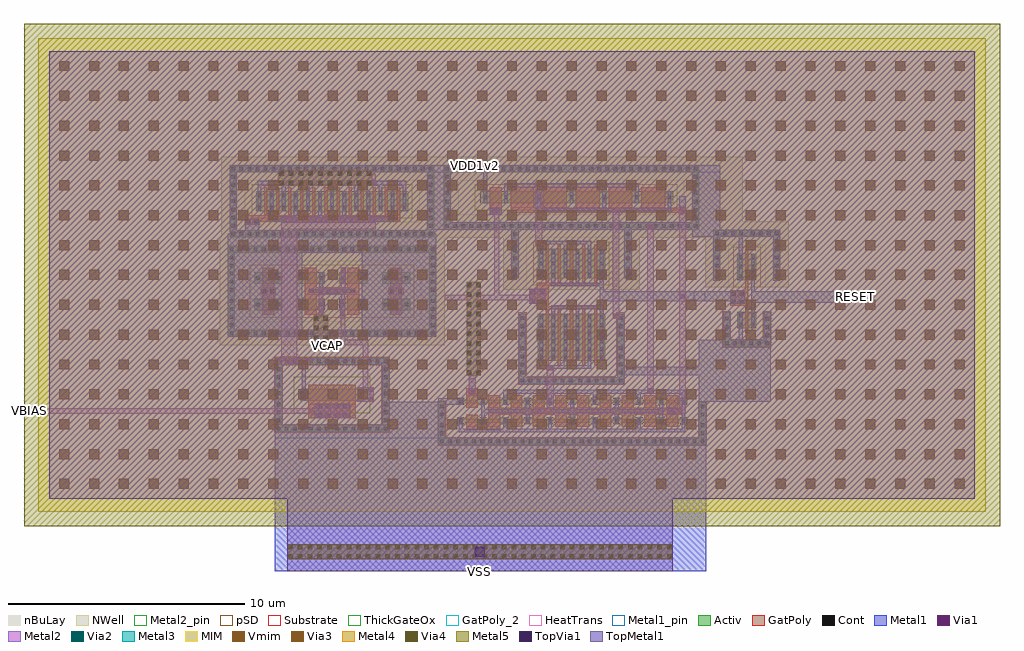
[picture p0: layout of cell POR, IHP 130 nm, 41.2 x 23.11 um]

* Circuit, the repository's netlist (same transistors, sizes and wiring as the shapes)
** sch_path: /foss/designs/xschemas/POR.sch
.subckt POR VDD RESET VBIAS VSS Nbulk
*.PININFO VSS:B VDD:B RESET:O VBIAS:I nbulk:B
XSCHMITT1 VSS VDD net2 net1 Nbulk Pbulk ring_schmitt
C1 VSS net1 cap_cmim w=40e-6 l=20e-6
M1 VSS VDD net1 Pbulk sg13_lv_pmos w=9.96u l=0.13u ng=12
XINV1 VDD Pbulk RESET net2 nbulk VSS ring_inv
M2 net1 net3 VDD Pbulk sg13_lv_pmos w=0.5u l=0.5u ng=1 m=2
M3 net3 net3 VDD Pbulk sg13_lv_pmos w=0.5u l=0.5u ng=1 m=2
M4 net3 VBIAS VSS nbulk sg13_hv_nmos w=0.5u l=2u ng=1
R1 VDD Pbulk ntap1 A=24.831e-12 P=166.14e-6
R2 VSS nbulk ptap1 A=12.969e-12 P=88.26e-6
M5 VDD VDD VDD Pbulk sg13_lv_pmos w=0.5u l=0.5u ng=1 m=4
.ends

* expanding   symbol:  /foss/designs/xschemas/ring_schmitt.sym # of pins=4
** sym_path: /foss/designs/xschemas/ring_schmitt.sym
** sch_path: /foss/designs/xschemas/ring_schmitt.sch
.subckt ring_schmitt VSS VDD Y A nbulk pbulk
*.PININFO A:I Y:O VDD:B VSS:B
M1 Y A VSPL nbulk sg13_lv_nmos w=10u l=0.13u ng=5
M2 Y A net1 pbulk sg13_lv_pmos w=6.25u l=0.13u ng=5
M3 VSPL A VSS nbulk sg13_lv_nmos w=0.155u l=0.5u ng=1
M4 net1 A VDD pbulk sg13_lv_pmos w=0.5u l=0.5u ng=1
M5 VSS Y net1 pbulk sg13_lv_pmos w=2.5u l=1u ng=1
M6 VDD Y VSPL nbulk sg13_lv_nmos w=2.945u l=0.5u ng=19
.ends


* expanding   symbol:  /foss/designs/xschemas/ring_inv.sym # of pins=6
** sym_path: /foss/designs/xschemas/ring_inv.sym
** sch_path: /foss/designs/xschemas/ring_inv.sch
.subckt ring_inv VDP Pbulk Y A Nbulk VSN
*.PININFO A:I Y:O Pbulk:B Nbulk:B VDP:B VSN:B
M1 Y A VSN Nbulk sg13_lv_nmos w=0.7u l=0.13u ng=1
M2 Y A VDP Pbulk sg13_lv_pmos w=1.12u l=0.13u ng=1
.ends

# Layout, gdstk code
from math import pi, radians
import gdstk
lib = gdstk.Library(unit=1e-6, precision=1e-09)
def R(c, l, rs):  # rectangles x0, y0, x1, y1
    for r in rs: c.add(gdstk.rectangle(r[:2], r[2:], *l))
def A(c, l, x, y, w, h, nx, ny, dx, dy):  # array of equal rectangles
    R(c, l, [(x+i*dx, y+j*dy, x+i*dx+w, y+j*dy+h) for i in range(nx) for j in range(ny)])
def P(c, l, *ps):  # polygons
    for p in ps: c.add(gdstk.Polygon(p, *l))
Activ = (1, 0)
GatPoly = (5, 0)
GatPoly_2 = (5, 2)
Cont = (6, 0)
Metal1 = (8, 0)
Metal1_pin = (8, 2)
Metal2 = (10, 0)
Metal2_pin = (10, 2)
pSD = (14, 0)
Via1 = (19, 0)
Via2 = (29, 0)
Metal3 = (30, 0)
NWell = (31, 0)
nBuLay = (32, 0)
MIM = (36, 0)
Substrate = (40, 0)
ThickGateOx = (44, 0)
Via3 = (49, 0)
Metal4 = (50, 0)
HeatTrans = (51, 0)
Via4 = (66, 0)
Metal5 = (67, 0)
TopVia1 = (125, 0)
TopMetal1 = (126, 0)
Vmim = (129, 0)

via_stack_5 = lib.new_cell('via_stack$5')
R(via_stack_5, GatPoly, [(-0.15,-0.15,0.15,0.15)])
R(via_stack_5, Cont, [(-0.08,-0.08,0.08,0.08)])
R(via_stack_5, Metal1, [(-0.145,-0.105,0.145,0.105)])
R(via_stack_5, Metal2, [(-0.145,-0.1,0.145,0.1)])
R(via_stack_5, Via1, [(-0.095,-0.095,0.095,0.095)])

via_stack = lib.new_cell('via_stack')
R(via_stack, GatPoly, [(-0.32,-0.32,0.32,0.32)])
R(via_stack, Cont, [(-0.25,-0.25,-0.09,-0.09), (0.09,-0.25,0.25,-0.09), (-0.25,0.09,-0.09,0.25), (0.09,0.09,0.25,0.25)])
R(via_stack, Metal1, [(-0.35,-0.31,0.35,0.31)])
R(via_stack, Metal2, [(-0.35,-0.305,0.35,0.305)])
R(via_stack, Via1, [(-0.3,-0.3,-0.11,-0.11), (0.11,-0.3,0.3,-0.11), (-0.3,0.11,-0.11,0.3), (0.11,0.11,0.3,0.3)])

via_stack_4 = lib.new_cell('via_stack$4')
R(via_stack_4, Metal1, [(-0.145,-0.105,0.145,0.105)])
R(via_stack_4, Metal2, [(-0.145,-0.1,0.145,0.1)])
R(via_stack_4, Via1, [(-0.095,-0.095,0.095,0.095)])

nmos_3 = lib.new_cell('nmos$3')
A(nmos_3, Activ, 0, 0, 0.3, 0.3, 11, 1, 0.94, 0)
R(nmos_3, Activ, [(0,0.07,9.7,0.225)])
A(nmos_3, GatPoly, 0.37, -0.11, 0.5, 0.515, 10, 1, 0.94, 0)
R(nmos_3, GatPoly_2, [(0.37,-0.11,0.87,0.405)])
A(nmos_3, Metal1, 0.07, 0.015, 0.16, 0.26, 11, 1, 0.94, 0)
R(nmos_3, Metal1_pin, [(0.07,0.015,0.23,0.275), (1.01,0.015,1.17,0.275)])
A(nmos_3, HeatTrans, 0.37, -0.11, 0.5, 0.515, 10, 1, 0.94, 0)
nmos_3.add(gdstk.Label('nmos', (0.62,0.148), layer=63, texttype=0))
nmos_3.add(gdstk.Label('nmos', (0.62,0.148), layer=51, texttype=0))
nmos_3.add(gdstk.Label('nmos', (1.56,0.148), layer=51, texttype=0))
nmos_3.add(gdstk.Label('nmos', (2.5,0.148), layer=51, texttype=0))
nmos_3.add(gdstk.Label('nmos', (3.44,0.148), layer=51, texttype=0))
nmos_3.add(gdstk.Label('nmos', (4.38,0.148), layer=51, texttype=0))
nmos_3.add(gdstk.Label('nmos', (5.32,0.148), layer=51, texttype=0))
nmos_3.add(gdstk.Label('nmos', (6.26,0.148), layer=51, texttype=0))
nmos_3.add(gdstk.Label('nmos', (7.2,0.148), layer=51, texttype=0))
nmos_3.add(gdstk.Label('nmos', (8.14,0.148), layer=51, texttype=0))
nmos_3.add(gdstk.Label('nmos', (9.08,0.148), layer=51, texttype=0))

ring_schmitt = lib.new_cell('ring_schmitt')
A(ring_schmitt, Activ, -3.855, -3.525, 0.3, 0.3, 11, 1, 0.94, 0)
A(ring_schmitt, Activ, -0.46, -0.85, 0.3, 0.3, 6, 2, 0.51, 3.485)
A(ring_schmitt, Activ, -1.945, 5.805, 0.3, 0.3, 6, 1, 1.38, 0)
R(ring_schmitt, Activ, [(-4.655,-4.395,6.645,-4.095), (-4.655,-4.095,-4.355,-2.58), (6.345,-4.095,6.645,-2.58), (-3.855,-3.455,5.845,-3.3), (-1.26,-1.83,3.19,-1.53), (-1.26,-1.53,-0.96,1.15), (2.89,-1.53,3.19,1.15), (-0.46,-0.85,2.39,1.15), (-1.57,2.635,-1.27,4.695), (-0.46,2.635,2.39,3.885), (3.2,2.635,3.5,4.695), (-1.57,4.695,3.5,4.995), (-4.435,4.995,-4.135,7.115), (6.065,4.995,6.365,7.115), (-2.885,5.805,5.255,6.305), (-2.83,5.805,-2.53,6.105), (-4.435,7.115,6.365,7.415)])
P(ring_schmitt, Activ, [(-4.435,4.695),(-4.435,7.115),(-4.135,7.115),(-4.135,4.995),(6.065,4.995),(6.065,7.115),(-4.435,7.115),(-4.435,7.415),(6.365,7.415),(6.365,4.695)])
A(ring_schmitt, GatPoly, -3.485, -3.635, 0.5, 0.515, 10, 1, 0.94, 0)
A(ring_schmitt, GatPoly, -0.12, -1.03, 0.13, 2.36, 5, 1, 0.51, 0)
A(ring_schmitt, GatPoly, -0.12, 2.455, 0.13, 1.61, 5, 1, 0.51, 0)
A(ring_schmitt, GatPoly, -1.605, 5.625, 1, 0.86, 5, 1, 1.38, 0)
R(ring_schmitt, GatPoly, [(-3.485,-3.785,-2.045,-3.635), (-2.545,-3.12,5.615,-2.82), (-3.485,-2.305,-2.985,-2.005), (-0.505,1.33,2.05,1.46), (-0.505,1.33,0.01,2.455), (-0.505,2.325,2.05,2.455), (1.92,2.455,2.05,4.065), (-2.485,5.325,-1.985,5.625), (-1.605,5.4,5.8,5.625), (-2.485,5.625,-1.985,6.485), (-2.485,5.625,-1.985,6.485)])
R(ring_schmitt, GatPoly_2, [(-3.485,-3.635,-2.985,-3.12), (1.92,-1.03,2.05,1.33)])
A(ring_schmitt, Cont, -4.585, -4.325, 0.16, 0.16, 16, 1, 0.34, 0)
A(ring_schmitt, Cont, 0.975, -4.325, 0.16, 0.16, 17, 1, 0.34, 0)
A(ring_schmitt, Cont, -3.785, -3.455, 0.16, 0.16, 11, 2, 0.94, 0.815)
A(ring_schmitt, Cont, -1.19, -1.76, 0.16, 0.16, 7, 1, 0.34, 0)
A(ring_schmitt, Cont, 1.26, -1.76, 0.16, 0.16, 6, 1, 0.34, 0)
A(ring_schmitt, Cont, -1.19, -1.42, 0.16, 0.16, 1, 4, 0, 0.34)
A(ring_schmitt, Cont, 2.96, -1.42, 0.16, 0.16, 1, 4, 0, 0.34)
A(ring_schmitt, Cont, -0.39, -0.78, 0.16, 0.16, 6, 6, 0.51, 0.34)
A(ring_schmitt, Cont, -1.19, 0.2, 0.16, 0.16, 1, 3, 0, 0.34)
A(ring_schmitt, Cont, 2.96, 0.2, 0.16, 0.16, 1, 3, 0, 0.34)
A(ring_schmitt, Cont, -0.39, 2.705, 0.16, 0.16, 6, 3, 0.51, 0.475)
A(ring_schmitt, Cont, -1.5, 3.405, 0.16, 0.16, 1, 4, 0, 0.34)
A(ring_schmitt, Cont, 3.27, 3.405, 0.16, 0.16, 1, 4, 0, 0.34)
A(ring_schmitt, Cont, -4.365, 4.765, 0.16, 0.16, 15, 2, 0.34, 2.42)
A(ring_schmitt, Cont, 1.23, 4.765, 0.16, 0.16, 7, 1, 0.34, 0)
A(ring_schmitt, Cont, 3.755, 4.765, 0.16, 0.16, 8, 1, 0.34, 0)
A(ring_schmitt, Cont, -4.365, 5.105, 0.16, 0.16, 1, 3, 0, 0.34)
A(ring_schmitt, Cont, 6.135, 5.105, 0.16, 0.16, 1, 3, 0, 0.34)
A(ring_schmitt, Cont, -1.875, 5.975, 0.16, 0.16, 6, 1, 1.38, 0)
A(ring_schmitt, Cont, -4.365, 6.165, 0.16, 0.16, 1, 3, 0, 0.34)
A(ring_schmitt, Cont, 6.135, 6.165, 0.16, 0.16, 1, 3, 0, 0.34)
A(ring_schmitt, Cont, 1.035, 7.185, 0.16, 0.16, 16, 1, 0.34, 0)
R(ring_schmitt, Cont, [(-4.585,-3.985,-4.425,-3.825), (6.415,-3.985,6.575,-3.825), (-4.585,-3.645,-4.425,-3.485), (6.415,-3.645,6.575,-3.485), (-4.585,-3.19,-4.425,-3.03), (6.415,-3.19,6.575,-3.03), (-4.585,-2.85,-4.425,-2.69), (6.415,-2.85,6.575,-2.69), (-1.5,2.955,-1.34,3.115), (3.27,2.955,3.43,3.115), (0.88,4.765,1.04,4.925), (-2.76,5.975,-2.6,6.135)])
A(ring_schmitt, Metal1, -3.785, -3.795, 0.16, 0.285, 6, 1, 1.88, 0)
A(ring_schmitt, Metal1, -2.845, -3.515, 0.16, 1.105, 5, 1, 1.88, 0)
A(ring_schmitt, Metal1, -3.785, -3.51, 0.16, 0.27, 5, 1, 1.88, 0)
A(ring_schmitt, Metal1, -2.845, -3.51, 0.16, 0.26, 5, 1, 1.88, 0)
A(ring_schmitt, Metal1, -0.025, -2.71, 0.16, 0.555, 3, 1, 1.88, 0)
A(ring_schmitt, Metal1, -0.39, -0.85, 0.16, 2, 6, 1, 0.51, 0)
A(ring_schmitt, Metal1, -0.39, 2.635, 0.16, 1.25, 5, 1, 0.51, 0)
A(ring_schmitt, Metal1, -0.495, 5.465, 0.16, 0.34, 3, 1, 2.76, 0)
A(ring_schmitt, Metal1, -1.875, 5.805, 0.16, 0.5, 6, 1, 1.38, 0)
A(ring_schmitt, Metal1, -1.875, 6.305, 0.16, 0.34, 3, 1, 2.76, 0)
R(ring_schmitt, Metal1, [(-4.655,-4.395,6.645,-4.095), (-4.655,-4.095,-4.355,-2.58), (6.345,-4.095,6.645,-2.58), (-3.785,-3.87,5.775,-3.71), (-1.905,-3.87,-1.745,-3.51), (5.615,-3.51,5.775,-3.25), (5.615,-3.29,5.775,-2.41), (5.015,-3.11,5.43,-2.82), (-2.845,-3.05,4.835,-2.89), (-4.655,-2.71,-3.59,-2.42), (-1.905,-2.71,-1.745,-2.08), (6.345,-2.58,6.645,-1.1), (5.615,-2.44,5.775,-2.155), (-3.375,-2.255,-3.085,-1.59), (-1.905,-2.23,5.775,-2.07), (-1.26,-1.83,3.19,-1.53), (-1.26,-1.53,-0.96,1.15), (2.89,-1.53,3.19,1.15), (2.89,-1.445,6.645,-1.1), (-0.39,-1.19,1.81,-1.03), (-0.39,-1.19,-0.23,-0.85), (1.65,-1.19,1.81,-0.85), (0.63,-1.03,0.79,-0.85), (0.12,1.15,0.28,1.49), (1.14,1.15,1.3,1.33), (2.16,1.15,2.32,1.49), (0.12,1.33,2.32,1.49), (2.16,1.49,2.32,2.295), (2.16,1.665,6.605,2.095), (0.12,2.295,2.32,2.455), (0.12,2.295,0.28,2.635), (2.16,2.295,2.32,2.635), (1.14,2.455,1.3,2.635), (-1.57,2.635,-1.27,4.695), (1.65,2.635,1.81,3.885), (2.16,2.635,2.32,3.885), (2.16,2.635,2.32,3.885), (3.2,2.635,3.5,4.695), (-0.39,3.885,-0.23,4.225), (0.63,3.885,0.79,4.065), (1.65,3.885,1.81,4.225), (-0.39,4.065,1.81,4.225), (-4.435,4.695,6.365,4.995), (-1.57,4.695,3.5,4.995), (-4.435,4.995,-4.135,7.115), (6.065,4.995,6.365,7.115), (-2.485,5.325,-1.985,5.625), (5.505,5.415,5.795,6.11), (-0.495,5.465,5.185,5.625), (-2.76,5.805,-2.6,6.305), (-2.76,5.805,-2.6,6.305), (-1.875,5.805,-1.715,6.305), (-2.76,6.305,-2.6,7.115), (-1.875,6.485,3.805,6.645), (-4.435,7.115,6.365,7.415)])
R(ring_schmitt, Metal1_pin, [(-0.31,-4.395,0.48,-4.095), (-3.785,-3.51,-3.625,-3.24), (-2.845,-3.51,-2.685,-3.25), (1.65,-0.85,1.81,1.15), (2.16,-0.85,2.32,1.15), (6.12,1.665,6.605,2.095), (-0.16,7.115,1.845,7.415)])
R(ring_schmitt, Metal2, [(5.505,-3.11,5.795,2.075), (5.075,-3.07,5.795,-2.865), (-0.555,-3.065,0.215,-2.865), (-0.075,-3.065,0.215,-1.045), (-3.375,-2.255,-3.085,1.94), (4.155,-2.215,4.445,4.91), (2.7,0.935,2.99,5.615), (5.505,1.665,5.795,5.615), (-4.38,1.72,-0.59,1.94), (-2.295,1.72,-2.09,5.575), (-0.565,4.025,-0.275,6.7)])
R(ring_schmitt, Metal2_pin, [(-4.38,1.72,-4.105,1.94)])
R(ring_schmitt, pSD, [(-4.685,-4.425,6.675,-4.065), (-4.685,-4.065,-4.325,-2.535), (6.315,-4.065,6.675,-2.545), (-0.64,2.335,2.57,4.185), (-3.115,5.505,5.435,6.605)])
P(ring_schmitt, pSD, [(-1.29,-1.86),(-1.29,1.205),(-0.93,1.205),(-0.93,-1.5),(2.86,-1.5),(2.86,1.205),(3.22,1.205),(3.22,-1.86)])
R(ring_schmitt, NWell, [(-1.92,2.16,3.85,5.345), (-0.77,2.325,2.7,4.195), (-4.785,4.345,6.715,7.765), (-3.635,5.495,5.565,6.615)])
R(ring_schmitt, nBuLay, [(-1.92,2.16,-0.92,4.345), (2.85,2.16,3.85,4.345), (-1.92,4.345,3.85,5.345), (-4.785,5.345,-3.785,6.765), (5.715,5.345,6.715,6.765), (-4.785,6.765,6.715,7.765)])
P(ring_schmitt, nBuLay, [(-4.785,4.345),(-4.785,6.765),(-3.785,6.765),(-3.785,5.345),(5.715,5.345),(5.715,6.765),(-4.785,6.765),(-4.785,7.765),(6.715,7.765),(6.715,4.345)])
R(ring_schmitt, Substrate, [(-4.685,-4.425,6.675,-4.065), (-4.685,-4.065,-4.325,-2.535), (6.315,-4.065,6.675,-2.545), (-0.46,2.635,-0.16,2.935), (4.955,5.805,5.255,6.105)])
P(ring_schmitt, Substrate, [(-1.29,-1.86),(-1.29,1.205),(-0.93,1.205),(-0.93,-1.5),(2.86,-1.5),(2.86,1.205),(3.22,1.205),(3.22,-1.86)])
A(ring_schmitt, HeatTrans, -3.485, -3.635, 0.5, 0.515, 10, 1, 0.94, 0)
A(ring_schmitt, HeatTrans, -0.12, -1.03, 0.13, 2.36, 5, 1, 0.51, 0)
A(ring_schmitt, HeatTrans, -0.12, 2.455, 0.13, 1.61, 5, 1, 0.51, 0)
A(ring_schmitt, HeatTrans, -1.605, 5.625, 1, 0.86, 5, 1, 1.38, 0)
R(ring_schmitt, HeatTrans, [(-2.485,5.625,-1.985,6.485)])
ring_schmitt.add(gdstk.Reference(via_stack_5, (-2.235,5.475), rotation=pi, x_reflection=True))
ring_schmitt.add(gdstk.Reference(via_stack, (-0.465,1.88), rotation=pi, x_reflection=True))
ring_schmitt.add(gdstk.Reference(via_stack_4, (-0.42,6.6)))
ring_schmitt.add(gdstk.Reference(via_stack_4, (-0.42,4.125)))
ring_schmitt.add(gdstk.Reference(via_stack_5, (5.65,5.515)))
ring_schmitt.add(gdstk.Reference(via_stack_4, (5.65,1.865)))
ring_schmitt.add(gdstk.Reference(nmos_3, (-3.855,-2.71)))
ring_schmitt.add(gdstk.Reference(via_stack_4, (-0.41,-2.965)))
ring_schmitt.add(gdstk.Reference(via_stack_4, (0.07,-1.145)))
ring_schmitt.add(gdstk.Reference(via_stack_5, (5.22,-2.965)))
ring_schmitt.add(gdstk.Reference(via_stack_5, (-3.23,-2.155), rotation=pi, x_reflection=True))
ring_schmitt.add(gdstk.Reference(via_stack_4, (2.845,1.035)))
ring_schmitt.add(gdstk.Reference(via_stack_4, (2.845,5.515)))
ring_schmitt.add(gdstk.Reference(via_stack_4, (4.3,-2.115)))
ring_schmitt.add(gdstk.Reference(via_stack_4, (4.3,4.81)))
ring_schmitt.add(gdstk.Label('Y', (6.605,1.88), layer=8, texttype=2))
ring_schmitt.add(gdstk.Label('VDD', (0.74,7.415), layer=8, texttype=2))
ring_schmitt.add(gdstk.Label('VSS', (0.035,-4.395), layer=8, texttype=2))
ring_schmitt.add(gdstk.Label('pmos', (1.985,3.26), layer=63, texttype=0))
ring_schmitt.add(gdstk.Label('sub!', (0.965,-1.68), layer=63, texttype=0))
ring_schmitt.add(gdstk.Label('nmos', (1.985,0.15), layer=63, texttype=0))
ring_schmitt.add(gdstk.Label('sub!', (0.995,-4.245), layer=63, texttype=0))
ring_schmitt.add(gdstk.Label('nmos', (-3.235,-3.38), layer=63, texttype=0))
ring_schmitt.add(gdstk.Label('pmos', (1.985,3.26), layer=51, texttype=0))
ring_schmitt.add(gdstk.Label('pmos', (1.475,3.26), layer=51, texttype=0))
ring_schmitt.add(gdstk.Label('pmos', (0.965,3.26), layer=51, texttype=0))
ring_schmitt.add(gdstk.Label('pmos', (0.455,3.26), layer=51, texttype=0))
ring_schmitt.add(gdstk.Label('pmos', (-0.055,3.26), layer=51, texttype=0))
ring_schmitt.add(gdstk.Label('nmos', (-0.055,0.15), layer=51, texttype=0))
ring_schmitt.add(gdstk.Label('nmos', (0.455,0.15), layer=51, texttype=0))
ring_schmitt.add(gdstk.Label('nmos', (0.965,0.15), layer=51, texttype=0))
ring_schmitt.add(gdstk.Label('nmos', (1.475,0.15), layer=51, texttype=0))
ring_schmitt.add(gdstk.Label('nmos', (1.985,0.15), layer=51, texttype=0))
ring_schmitt.add(gdstk.Label('pmos', (-2.485,6.055), layer=51, texttype=0))
ring_schmitt.add(gdstk.Label('pmos', (-1.105,6.055), layer=51, texttype=0))
ring_schmitt.add(gdstk.Label('pmos', (0.275,6.055), layer=51, texttype=0))
ring_schmitt.add(gdstk.Label('pmos', (1.655,6.055), layer=51, texttype=0))
ring_schmitt.add(gdstk.Label('pmos', (3.035,6.055), layer=51, texttype=0))
ring_schmitt.add(gdstk.Label('pmos', (4.415,6.055), layer=51, texttype=0))
ring_schmitt.add(gdstk.Label('nmos', (5.225,-3.375), layer=51, texttype=0))
ring_schmitt.add(gdstk.Label('nmos', (4.285,-3.375), layer=51, texttype=0))
ring_schmitt.add(gdstk.Label('nmos', (3.345,-3.375), layer=51, texttype=0))
ring_schmitt.add(gdstk.Label('nmos', (2.405,-3.375), layer=51, texttype=0))
ring_schmitt.add(gdstk.Label('nmos', (1.465,-3.375), layer=51, texttype=0))
ring_schmitt.add(gdstk.Label('nmos', (0.525,-3.375), layer=51, texttype=0))
ring_schmitt.add(gdstk.Label('nmos', (-0.415,-3.375), layer=51, texttype=0))
ring_schmitt.add(gdstk.Label('nmos', (-1.355,-3.375), layer=51, texttype=0))
ring_schmitt.add(gdstk.Label('nmos', (-2.295,-3.375), layer=51, texttype=0))
ring_schmitt.add(gdstk.Label('nmos', (-3.235,-3.375), layer=51, texttype=0))
ring_schmitt.add(gdstk.Label('A', (-4.38,1.83), layer=10, texttype=2))

via_stack_1 = lib.new_cell('via_stack$1')
R(via_stack_1, GatPoly, [(-0.32,-0.32,0.32,0.32)])
R(via_stack_1, Cont, [(-0.25,-0.25,-0.09,-0.09), (0.09,-0.25,0.25,-0.09), (-0.25,0.09,-0.09,0.25), (0.09,0.09,0.25,0.25)])
R(via_stack_1, Metal1, [(-0.3,-0.25,0.3,0.25)])

ring_inv = lib.new_cell('ring_inv')
R(ring_inv, Activ, [(-0.45,-2.005,-0.15,-1.705), (-0.45,-2.005,0.36,-1.305), (0.06,-2.005,0.36,-1.705), (-1.46,0,-1.16,1.86), (1.07,0,1.37,1.86), (-0.45,0.03,-0.15,0.33), (-0.45,0.03,0.36,1.15), (0.06,0.03,0.36,0.33), (-1.46,1.86,1.37,2.16)])
P(ring_inv, Activ, [(-1.05,-2.785),(-1.05,-1.305),(-0.75,-1.305),(-0.75,-2.485),(0.66,-2.485),(0.66,-1.305),(0.96,-1.305),(0.96,-2.785)])
R(ring_inv, GatPoly, [(-0.11,-2.185,0.02,-1.125), (-0.11,-1.125,0.02,-0.15), (-0.11,-0.15,0.02,1.33), (-0.11,-0.15,0.02,1.33)])
R(ring_inv, GatPoly_2, [(-0.11,-2.185,0.02,-1.125)])
A(ring_inv, Cont, -0.98, -2.715, 0.16, 0.16, 3, 1, 0.34, 0)
A(ring_inv, Cont, 0.05, -2.715, 0.16, 0.16, 3, 1, 0.34, 0)
A(ring_inv, Cont, -0.38, 0.1, 0.16, 0.16, 1, 3, 0, 0.41)
A(ring_inv, Cont, 0.13, 0.1, 0.16, 0.16, 1, 3, 0, 0.41)
A(ring_inv, Cont, -1.39, 0.57, 0.16, 0.16, 1, 4, 0, 0.34)
A(ring_inv, Cont, 1.14, 0.57, 0.16, 0.16, 1, 4, 0, 0.34)
A(ring_inv, Cont, -1.39, 1.93, 0.16, 0.16, 4, 1, 0.34, 0)
A(ring_inv, Cont, 0.12, 1.93, 0.16, 0.16, 4, 1, 0.34, 0)
R(ring_inv, Cont, [(-0.98,-2.375,-0.82,-2.215), (0.73,-2.375,0.89,-2.215), (-0.98,-2.035,-0.82,-1.875), (0.73,-2.035,0.89,-1.875), (-0.38,-1.935,-0.22,-1.775), (0.13,-1.935,0.29,-1.775), (0.73,-1.675,0.89,-1.515), (-0.98,-1.67,-0.82,-1.51), (-0.38,-1.535,-0.22,-1.375), (0.13,-1.535,0.29,-1.375), (-1.39,0.11,-1.23,0.27), (1.14,0.11,1.3,0.27)])
R(ring_inv, Metal1, [(-1.05,-2.785,0.96,-2.485), (-1.05,-2.485,-0.75,-1.305), (0.66,-2.485,0.96,-1.305), (-0.38,-2.005,-0.22,-1.305), (0.13,-2.005,0.29,-1.305), (0.13,-1.305,0.29,0.03), (-1.46,0,-1.16,1.86), (1.07,0,1.37,1.86), (-0.38,0.03,-0.22,1.15), (-0.38,0.03,-0.22,1.15), (0.13,0.03,0.29,1.15), (0.13,0.03,0.29,1.15), (-1.46,1.86,1.37,2.16)])
R(ring_inv, Metal1_pin, [(-0.38,-2.785,0.23,-2.485), (-0.38,-2.005,-0.22,-1.305), (0.13,-2.005,0.29,-1.305), (0.13,-0.84,0.29,-0.565), (-0.73,-0.815,-0.52,-0.625), (-0.505,1.86,0.29,2.16)])
R(ring_inv, pSD, [(-0.63,-0.27,0.54,1.45)])
P(ring_inv, pSD, [(-1.08,-2.815),(-1.08,-1.275),(-0.72,-1.275),(-0.72,-2.455),(0.63,-2.455),(0.63,-1.275),(0.99,-1.275),(0.99,-2.815)])
R(ring_inv, NWell, [(-1.81,-0.28,1.72,2.51), (-0.76,-0.28,0.67,1.46)])
R(ring_inv, nBuLay, [(-1.81,-0.28,-0.81,1.51), (0.72,-0.28,1.72,1.51), (-1.81,1.51,1.72,2.51)])
R(ring_inv, Substrate, [(-1.08,-2.815,0.99,-2.455), (-1.08,-2.455,-0.72,-1.305), (0.63,-2.455,0.99,-1.305), (0.06,0.03,0.36,0.33)])
R(ring_inv, HeatTrans, [(-0.11,-2.185,0.02,-1.125), (-0.11,-0.15,0.02,1.33)])
ring_inv.add(gdstk.Reference(via_stack_1, (-0.43,-0.725)))
ring_inv.add(gdstk.Label('VDD', (-0.108,2.16), layer=8, texttype=2))
ring_inv.add(gdstk.Label('VSS', (-0.075,-2.785), layer=8, texttype=2))
ring_inv.add(gdstk.Label('Y', (0.29,-0.703), layer=8, texttype=2))
ring_inv.add(gdstk.Label('A', (-0.73,-0.705), layer=8, texttype=2))
ring_inv.add(gdstk.Label('pmos', (-0.045,0.59), layer=63, texttype=0))
ring_inv.add(gdstk.Label('nmos', (-0.045,-1.655), layer=63, texttype=0))
ring_inv.add(gdstk.Label('sub!', (-0.045,-2.635), layer=63, texttype=0))
ring_inv.add(gdstk.Label('pmos', (-0.045,0.59), layer=51, texttype=0))
ring_inv.add(gdstk.Label('nmos', (-0.045,-1.655), layer=51, texttype=0))

pmos_2 = lib.new_cell('pmos$2')
A(pmos_2, Activ, 0, 0, 0.3, 0.3, 13, 1, 0.51, 0)
R(pmos_2, Activ, [(-1.11,-1.11,7.53,-0.81), (-1.11,-0.81,-0.81,1.64), (7.23,-0.81,7.53,1.64), (0,0,6.42,0.83)])
P(pmos_2, Activ, [(-1.11,-1.11),(-1.11,1.64),(-0.81,1.64),(-0.81,-0.81),(7.23,-0.81),(7.23,1.64),(-1.11,1.64),(-1.11,1.94),(7.53,1.94),(7.53,-1.11)])
A(pmos_2, GatPoly, 0.34, -0.18, 0.13, 1.19, 12, 1, 0.51, 0)
R(pmos_2, GatPoly, [(0.34,-0.18,0.47,1.01)])
A(pmos_2, Cont, -1.04, -1.04, 0.16, 0.16, 12, 2, 0.34, 2.75)
A(pmos_2, Cont, 3.22, -1.04, 0.16, 0.16, 13, 2, 0.34, 2.75)
A(pmos_2, Cont, -1.04, -0.7, 0.16, 0.16, 1, 3, 0, 0.34)
A(pmos_2, Cont, 7.3, -0.7, 0.16, 0.16, 1, 3, 0, 0.34)
A(pmos_2, Cont, 0.07, 0.07, 0.16, 0.16, 13, 2, 0.51, 0.53)
A(pmos_2, Cont, -1.04, 0.35, 0.16, 0.16, 1, 4, 0, 0.34)
A(pmos_2, Cont, 7.3, 0.35, 0.16, 0.16, 1, 4, 0, 0.34)
A(pmos_2, Metal1, 0.58, 0, 0.16, 0.83, 12, 1, 0.51, 0)
R(pmos_2, Metal1, [(-1.11,-1.11,7.53,-0.81), (-1.11,-0.81,-0.81,1.64), (7.23,-0.81,7.53,1.64), (0.07,0,0.23,0.83), (0.07,0,0.23,0.83), (0.58,0,0.74,0.83), (-1.11,1.64,7.53,1.94)])
R(pmos_2, pSD, [(-0.18,-0.3,6.6,1.13)])
R(pmos_2, NWell, [(-1.46,-1.46,7.88,2.29), (-0.31,-0.31,6.73,1.14)])
R(pmos_2, nBuLay, [(-1.46,-1.46,7.88,-0.46), (-1.46,-0.46,-0.46,1.29), (6.88,-0.46,7.88,1.29)])
P(pmos_2, nBuLay, [(-1.46,-1.46),(-1.46,1.29),(-0.46,1.29),(-0.46,-0.46),(6.88,-0.46),(6.88,1.29),(-1.46,1.29),(-1.46,2.29),(7.88,2.29),(7.88,-1.46)])
R(pmos_2, Substrate, [(6.12,0,6.42,0.3)])
A(pmos_2, HeatTrans, 0.34, -0.18, 0.13, 1.19, 12, 1, 0.51, 0)
pmos_2.add(gdstk.Label('pmos', (0.405,0.415), layer=63, texttype=0))
pmos_2.add(gdstk.Label('well', (3.21,-0.96), layer=63, texttype=0))
pmos_2.add(gdstk.Label('pmos', (0.405,0.415), layer=51, texttype=0))
pmos_2.add(gdstk.Label('pmos', (0.915,0.415), layer=51, texttype=0))
pmos_2.add(gdstk.Label('pmos', (1.425,0.415), layer=51, texttype=0))
pmos_2.add(gdstk.Label('pmos', (1.935,0.415), layer=51, texttype=0))
pmos_2.add(gdstk.Label('pmos', (2.445,0.415), layer=51, texttype=0))
pmos_2.add(gdstk.Label('pmos', (2.955,0.415), layer=51, texttype=0))
pmos_2.add(gdstk.Label('pmos', (3.465,0.415), layer=51, texttype=0))
pmos_2.add(gdstk.Label('pmos', (3.975,0.415), layer=51, texttype=0))
pmos_2.add(gdstk.Label('pmos', (4.485,0.415), layer=51, texttype=0))
pmos_2.add(gdstk.Label('pmos', (4.995,0.415), layer=51, texttype=0))
pmos_2.add(gdstk.Label('pmos', (5.505,0.415), layer=51, texttype=0))
pmos_2.add(gdstk.Label('pmos', (6.015,0.415), layer=51, texttype=0))

via_stack_11 = lib.new_cell('via_stack$11')
R(via_stack_11, GatPoly, [(-0.32,-0.15,0.32,0.15)])
R(via_stack_11, Cont, [(-0.25,-0.08,-0.09,0.08), (0.09,-0.08,0.25,0.08)])
R(via_stack_11, Metal1, [(-0.3,-0.08,0.3,0.08)])

via_stack_13 = lib.new_cell('via_stack$13')
R(via_stack_13, Metal1, [(-1.99,-0.105,1.99,0.105)])
R(via_stack_13, Metal2, [(-1.99,-0.1,1.99,0.1)])
A(via_stack_13, Via1, -1.94, -0.095, 0.19, 0.19, 10, 1, 0.41, 0)

por_discharge_pmos = lib.new_cell('POR_discharge_pmos')
R(por_discharge_pmos, GatPoly, [(-3.67,-0.875,2.87,-0.595)])
A(por_discharge_pmos, Metal1, -2.63, -0.86, 0.16, 0.55, 6, 1, 1.02, 0)
A(por_discharge_pmos, Metal1, -3.14, 0.325, 0.16, 0.55, 7, 1, 1.02, 0)
R(por_discharge_pmos, Metal1, [(-3.665,-1.525,-3.065,-0.765), (-2.63,-0.86,2.63,-0.64), (-3.14,0.655,3.14,0.875)])
R(por_discharge_pmos, Metal2, [(-2.145,-1.19,1.835,-0.7), (-2.145,0.68,1.835,1.17)])
R(por_discharge_pmos, Metal2_pin, [(-2.145,-1.19,1.835,-0.7), (-2.145,0.68,1.835,1.17)])
por_discharge_pmos.add(gdstk.Reference(pmos_2, (-3.21,-0.415)))
por_discharge_pmos.add(gdstk.Reference(via_stack_11, (-3.365,-0.845)))
por_discharge_pmos.add(gdstk.Reference(via_stack_13, (-0.155,0.78)))
por_discharge_pmos.add(gdstk.Reference(via_stack_13, (-0.155,-0.8), x_reflection=True))
por_discharge_pmos.add(gdstk.Label('vcap', (-0.155,1.17), layer=10, texttype=2))
por_discharge_pmos.add(gdstk.Label('vss', (-0.155,-1.19), layer=10, texttype=2))

pmos_1 = lib.new_cell('pmos$1')
R(pmos_1, Activ, [(0,0,0.3,0.3), (0,0,1.18,0.5), (0.88,0,1.18,0.3)])
R(pmos_1, GatPoly, [(0.34,-0.18,0.84,0.68), (0.34,-0.18,0.84,0.68)])
R(pmos_1, Cont, [(0.07,0.17,0.23,0.33), (0.95,0.17,1.11,0.33)])
R(pmos_1, Metal1, [(0.07,0,0.23,0.5), (0.07,0,0.23,0.5), (0.95,0,1.11,0.5), (0.95,0,1.11,0.5)])
R(pmos_1, pSD, [(-0.18,-0.3,1.36,0.8)])
R(pmos_1, NWell, [(-0.31,-0.31,1.49,0.81)])
R(pmos_1, Substrate, [(0.88,0,1.18,0.3)])
R(pmos_1, HeatTrans, [(0.34,-0.18,0.84,0.68)])
pmos_1.add(gdstk.Label('pmos', (0.59,0.25), layer=63, texttype=0))
pmos_1.add(gdstk.Label('pmos', (0.59,0.25), layer=51, texttype=0))

guard_ring_1 = lib.new_cell('guard_ring$1')
R(guard_ring_1, Activ, [(-4.4,-1.92,4.4,-1.62), (-4.4,-1.62,-4.1,1.62), (4.1,-1.62,4.4,1.62)])
P(guard_ring_1, Activ, [(-4.4,-1.92),(-4.4,1.62),(-4.1,1.62),(-4.1,-1.62),(4.1,-1.62),(4.1,1.62),(-4.4,1.62),(-4.4,1.92),(4.4,1.92),(4.4,-1.92)])
A(guard_ring_1, Cont, -4.33, -1.85, 0.16, 0.16, 12, 2, 0.34, 3.54)
A(guard_ring_1, Cont, 0.09, -1.85, 0.16, 0.16, 13, 2, 0.34, 3.54)
A(guard_ring_1, Cont, -4.33, -1.51, 0.16, 0.16, 1, 4, 0, 0.34)
A(guard_ring_1, Cont, 4.17, -1.51, 0.16, 0.16, 1, 4, 0, 0.34)
A(guard_ring_1, Cont, -4.33, -0.01, 0.16, 0.16, 1, 5, 0, 0.34)
A(guard_ring_1, Cont, 4.17, -0.01, 0.16, 0.16, 1, 5, 0, 0.34)
R(guard_ring_1, Metal1, [(-4.4,-1.92,4.4,-1.62), (-4.4,-1.62,-4.1,1.62), (4.1,-1.62,4.4,1.62), (-4.4,1.62,4.4,1.92)])
R(guard_ring_1, NWell, [(-4.75,-2.27,4.75,2.27)])
R(guard_ring_1, nBuLay, [(-4.75,-2.27,4.75,-1.27), (-4.75,-1.27,-3.75,1.27), (3.75,-1.27,4.75,1.27)])
P(guard_ring_1, nBuLay, [(-4.75,-2.27),(-4.75,1.27),(-3.75,1.27),(-3.75,-1.27),(3.75,-1.27),(3.75,1.27),(-4.75,1.27),(-4.75,2.27),(4.75,2.27),(4.75,-2.27)])
guard_ring_1.add(gdstk.Label('well', (0,-1.77), layer=63, texttype=0))

via_stack_9 = lib.new_cell('via_stack$9')
R(via_stack_9, GatPoly, [(-1,-0.15,1,0.15)])
A(via_stack_9, Cont, -0.93, -0.08, 0.16, 0.16, 6, 1, 0.34, 0)
R(via_stack_9, Metal1, [(-0.98,-0.08,0.98,0.08)])

via_stack_8 = lib.new_cell('via_stack$8')
R(via_stack_8, Metal1, [(-0.105,-0.35,0.105,0.35)])
R(via_stack_8, Metal2, [(-0.1,-0.35,0.1,0.35)])
R(via_stack_8, Via1, [(-0.095,-0.3,0.095,-0.11), (-0.095,0.11,0.095,0.3)])

por_pmos_mirror = lib.new_cell('POR_pmos_mirror')
R(por_pmos_mirror, GatPoly, [(-1.15,-0.13,1.15,0.13)])
R(por_pmos_mirror, Metal1, [(-4.4,-1.92,-1.26,1.92), (1.26,-1.92,4.4,1.92), (0.38,-0.435,0.54,0.06), (-0.54,-0.095,0.54,0.06), (-0.54,-0.095,-0.38,0.42)])
R(por_pmos_mirror, Metal1_pin, [(-4.4,1.62,4.4,1.92)])
R(por_pmos_mirror, Metal2, [(-0.565,-2.27,-0.365,-0.92), (0.36,-2.27,0.56,-0.92), (-0.565,-0.375,-0.365,0.1), (-0.565,-0.14,0.565,0.1), (0.365,-0.14,0.565,0.335)])
R(por_pmos_mirror, Metal2_pin, [(-0.565,-2.27,-0.365,-0.92), (0.36,-2.27,0.56,-0.92)])
R(por_pmos_mirror, pSD, [(-3.47,-1.11,3.47,1.11)])
r = gdstk.Reference(pmos_1, (-3.29,-0.81)); r.repetition = gdstk.Repetition(4, 2, v1=(1.8,0), v2=(0,1.12)); por_pmos_mirror.add(r)
por_pmos_mirror.add(gdstk.Reference(guard_ring_1, (0,0)))
por_pmos_mirror.add(gdstk.Reference(via_stack_9, (0.005,0.01)))
por_pmos_mirror.add(gdstk.Reference(via_stack_8, (0.465,0.665)))
por_pmos_mirror.add(gdstk.Reference(via_stack_8, (-0.465,-0.71)))
por_pmos_mirror.add(gdstk.Reference(via_stack_11, (-2.69,0.005)))
por_pmos_mirror.add(gdstk.Reference(via_stack_11, (2.695,0.005)))
por_pmos_mirror.add(gdstk.Reference(via_stack_8, (0.46,-0.71)))
por_pmos_mirror.add(gdstk.Label('vdd1v2', (0,1.92), layer=8, texttype=2))
por_pmos_mirror.add(gdstk.Label('vcap', (-0.465,-2.27), layer=10, texttype=2))
por_pmos_mirror.add(gdstk.Label('vref', (0.46,-2.27), layer=10, texttype=2))

nmoshv = lib.new_cell('nmosHV')
R(nmoshv, Activ, [(-1.07,-1.32,3.75,-1.02), (-1.07,-1.02,-0.77,1.52), (3.45,-1.02,3.75,1.52), (0,0,0.3,0.3), (0,0,2.68,0.5), (2.38,0,2.68,0.3)])
P(nmoshv, Activ, [(-1.07,-1.32),(-1.07,1.52),(-0.77,1.52),(-0.77,-1.02),(3.45,-1.02),(3.45,1.52),(-1.07,1.52),(-1.07,1.82),(3.75,1.82),(3.75,-1.32)])
R(nmoshv, GatPoly, [(0.34,-0.18,2.34,0.68)])
R(nmoshv, GatPoly_2, [(0.34,-0.18,2.34,0.68)])
A(nmoshv, Cont, -1, -1.25, 0.16, 0.16, 7, 2, 0.34, 2.84)
A(nmoshv, Cont, 1.48, -1.25, 0.16, 0.16, 7, 2, 0.34, 2.84)
A(nmoshv, Cont, -1, -0.91, 0.16, 0.16, 1, 3, 0, 0.34)
A(nmoshv, Cont, 3.52, -0.91, 0.16, 0.16, 1, 3, 0, 0.34)
A(nmoshv, Cont, -1, 0.23, 0.16, 0.16, 1, 4, 0, 0.34)
A(nmoshv, Cont, 3.52, 0.23, 0.16, 0.16, 1, 4, 0, 0.34)
R(nmoshv, Cont, [(0.07,0.17,0.23,0.33), (2.45,0.17,2.61,0.33)])
R(nmoshv, Metal1, [(-1.07,-1.32,3.75,-1.02), (-1.07,-1.02,-0.77,1.52), (3.45,-1.02,3.75,1.52), (0.07,0,0.23,0.5), (2.45,0,2.61,0.5), (-1.07,1.52,3.75,1.82)])
R(nmoshv, Metal1_pin, [(0.07,0,0.23,0.5), (2.45,0,2.61,0.5)])
R(nmoshv, pSD, [(-1.1,-1.35,3.78,-0.99), (-1.1,-0.99,-0.74,1.49), (3.42,-0.99,3.78,1.49)])
P(nmoshv, pSD, [(-1.1,-1.35),(-1.1,1.49),(-0.74,1.49),(-0.74,-0.99),(3.42,-0.99),(3.42,1.49),(-1.1,1.49),(-1.1,1.85),(3.78,1.85),(3.78,-1.35)])
R(nmoshv, Substrate, [(-1.1,-1.35,3.78,-0.99), (-1.1,-0.99,-0.74,1.49), (3.42,-0.99,3.78,1.49)])
P(nmoshv, Substrate, [(-1.1,-1.35),(-1.1,1.49),(-0.74,1.49),(-0.74,-0.99),(3.42,-0.99),(3.42,1.49),(-1.1,1.49),(-1.1,1.85),(3.78,1.85),(3.78,-1.35)])
R(nmoshv, ThickGateOx, [(-0.27,-0.52,2.95,1.02)])
R(nmoshv, HeatTrans, [(0.34,-0.18,2.34,0.68)])
nmoshv.add(gdstk.Label('nmosHV', (1.34,0.25), layer=63, texttype=0))
nmoshv.add(gdstk.Label('sub!', (1.34,-1.17), layer=63, texttype=0))
nmoshv.add(gdstk.Label('nmosHV', (1.34,0.25), layer=51, texttype=0))

via_stack_10 = lib.new_cell('via_stack$10')
R(via_stack_10, GatPoly, [(-0.66,-0.32,0.66,0.32)])
A(via_stack_10, Cont, -0.59, -0.25, 0.16, 0.16, 4, 2, 0.34, 0.34)
R(via_stack_10, Metal1, [(-0.76,-0.31,0.76,0.31)])
R(via_stack_10, Metal2, [(-0.76,-0.305,0.76,0.305)])
A(via_stack_10, Via1, -0.71, -0.3, 0.19, 0.19, 4, 2, 0.41, 0.41)

via_stack_12 = lib.new_cell('via_stack$12')
R(via_stack_12, Metal1, [(-0.35,-0.31,0.35,0.31)])
R(via_stack_12, Metal2, [(-0.35,-0.305,0.35,0.305)])
R(via_stack_12, Via1, [(-0.3,-0.3,-0.11,-0.11), (0.11,-0.3,0.3,-0.11), (-0.3,0.11,-0.11,0.3), (0.11,0.11,0.3,0.3)])

por_nmos_ref = lib.new_cell('POR_nmos_ref')
R(por_nmos_ref, GatPoly, [(-1,-1,1,-0.43)])
R(por_nmos_ref, Metal1, [(-1.27,-0.25,-1.11,1.57)])
R(por_nmos_ref, Metal1_pin, [(-2.41,-1.57,2.41,-1.27)])
R(por_nmos_ref, Metal2, [(-2.44,-0.79,-0.505,-0.57), (1.3,0.125,1.52,1.6)])
R(por_nmos_ref, Metal2_pin, [(-2.44,-0.79,-0.505,-0.57), (1.3,0.125,1.52,1.6)])
por_nmos_ref.add(gdstk.Reference(nmoshv, (-1.34,-0.25)))
por_nmos_ref.add(gdstk.Reference(via_stack_10, (0.015,-0.68)))
por_nmos_ref.add(gdstk.Reference(via_stack_12, (1.41,0.015)))
por_nmos_ref.add(gdstk.Label('vss', (0,-1.57), layer=8, texttype=2))
por_nmos_ref.add(gdstk.Label('vref', (1.41,1.6), layer=10, texttype=2))
por_nmos_ref.add(gdstk.Label('vbias', (-2.44,-0.68), layer=10, texttype=2))

via_stack_14 = lib.new_cell('via_stack$14')
R(via_stack_14, Metal1, [(-0.76,-0.105,0.76,0.105)])
R(via_stack_14, Metal2, [(-0.76,-0.1,0.76,0.1)])
A(via_stack_14, Via1, -0.71, -0.095, 0.19, 0.19, 4, 1, 0.41, 0)

por_ref_voltage = lib.new_cell('POR_ref_voltage')
R(por_ref_voltage, Metal1, [(-4.4,4.18,4.4,4.945)])
R(por_ref_voltage, Metal2, [(-2.145,-0.58,-1.47,5.295), (1.3,-0.47,1.52,0.47), (0.36,0.25,1.52,0.47)])
por_ref_voltage.add(gdstk.Reference(por_discharge_pmos, (0,6.32)))
por_ref_voltage.add(gdstk.Reference(por_pmos_mirror, (0,2.52)))
por_ref_voltage.add(gdstk.Reference(por_nmos_ref, (0,-1.85)))
por_ref_voltage.add(gdstk.Reference(via_stack_14, (-1.6,-0.425)))

cmim_1 = lib.new_cell('cmim$1')
R(cmim_1, MIM, [(0,0,40,20)])
R(cmim_1, Metal5, [(-0.6,-0.6,40.6,20.6)])
R(cmim_1, TopMetal1, [(0.47,0.55,39.53,19.45)])
A(cmim_1, Vmim, 0.89, 0.97, 0.42, 0.42, 31, 15, 1.26, 1.26)

via_stack_15 = lib.new_cell('via_stack$15')
R(via_stack_15, Metal1, [(-8.14,-0.31,8.14,0.31)])
R(via_stack_15, Metal2, [(-8.14,-0.305,8.14,0.305)])
A(via_stack_15, Via1, -8.09, -0.3, 0.19, 0.19, 40, 2, 0.41, 0.41)
A(via_stack_15, Via2, -8.09, -0.3, 0.19, 0.19, 40, 2, 0.41, 0.41)
R(via_stack_15, Metal3, [(-8.14,-0.305,8.14,0.305)])
A(via_stack_15, Via3, -8.09, -0.3, 0.19, 0.19, 40, 2, 0.41, 0.41)
R(via_stack_15, Metal4, [(-8.14,-0.305,8.14,0.305)])
A(via_stack_15, Via4, -8.09, -0.3, 0.19, 0.19, 40, 2, 0.41, 0.41)
R(via_stack_15, Metal5, [(-8.14,-0.31,8.14,0.31)])
R(via_stack_15, TopVia1, [(-0.21,-0.21,0.21,0.21)])
R(via_stack_15, TopMetal1, [(-0.82,-0.82,0.82,0.82)])

via_stack_17 = lib.new_cell('via_stack$17')
R(via_stack_17, Metal2, [(-0.305,-1.99,0.305,1.99)])
A(via_stack_17, Via2, -0.3, -1.94, 0.19, 0.19, 1, 10, 0, 0.41)
A(via_stack_17, Via2, 0.11, -1.94, 0.19, 0.19, 1, 10, 0, 0.41)
R(via_stack_17, Metal3, [(-0.305,-1.99,0.305,1.99)])
A(via_stack_17, Via3, -0.3, -1.94, 0.19, 0.19, 1, 10, 0, 0.41)
A(via_stack_17, Via3, 0.11, -1.94, 0.19, 0.19, 1, 10, 0, 0.41)
R(via_stack_17, Metal4, [(-0.305,-1.99,0.305,1.99)])
A(via_stack_17, Via4, -0.3, -1.94, 0.19, 0.19, 1, 10, 0, 0.41)
A(via_stack_17, Via4, 0.11, -1.94, 0.19, 0.19, 1, 10, 0, 0.41)
R(via_stack_17, Metal5, [(-0.305,-1.99,0.305,1.99)])

via_stack_16 = lib.new_cell('via_stack$16')
R(via_stack_16, Metal2, [(-1.99,-0.305,1.99,0.305)])
A(via_stack_16, Via2, -1.94, -0.3, 0.19, 0.19, 10, 2, 0.41, 0.41)
R(via_stack_16, Metal3, [(-1.99,-0.305,1.99,0.305)])
A(via_stack_16, Via3, -1.94, -0.3, 0.19, 0.19, 10, 2, 0.41, 0.41)
R(via_stack_16, Metal4, [(-1.99,-0.305,1.99,0.305)])
A(via_stack_16, Via4, -1.94, -0.3, 0.19, 0.19, 10, 2, 0.41, 0.41)
R(via_stack_16, Metal5, [(-1.99,-0.305,1.99,0.305)])

via_stack_18 = lib.new_cell('via_stack$18')
R(via_stack_18, Metal2, [(-0.305,-0.76,0.305,0.76)])
A(via_stack_18, Via2, -0.3, -0.71, 0.19, 0.19, 1, 4, 0, 0.41)
A(via_stack_18, Via2, 0.11, -0.71, 0.19, 0.19, 1, 4, 0, 0.41)
R(via_stack_18, Metal3, [(-0.305,-0.76,0.305,0.76)])
A(via_stack_18, Via3, -0.3, -0.71, 0.19, 0.19, 1, 4, 0, 0.41)
A(via_stack_18, Via3, 0.11, -0.71, 0.19, 0.19, 1, 4, 0, 0.41)
R(via_stack_18, Metal4, [(-0.305,-0.76,0.305,0.76)])
A(via_stack_18, Via4, -0.3, -0.71, 0.19, 0.19, 1, 4, 0, 0.41)
A(via_stack_18, Via4, 0.11, -0.71, 0.19, 0.19, 1, 4, 0, 0.41)
R(via_stack_18, Metal5, [(-0.305,-0.76,0.305,0.76)])

por = lib.new_cell('POR')
R(por, Metal1, [(-12.095,-9.46,6.1,-3.83), (-12.095,-4.395,-4.9,-3.285), (-7.565,-3.585,-4.9,-2.315), (5.8,-2.315,8.83,0.31), (7.49,0.16,7.65,1.07), (8,1.88,12.415,2.365), (5.575,1.93,7.74,2.36), (7.49,3.515,7.65,4.955), (5.52,4.655,6.71,7.68), (-5.665,4.96,-4.67,7.68)])
R(por, Metal1_pin, [(-12.095,-9.46,6.1,-3.83), (8,1.88,12.415,2.365), (-14.005,7.38,6.71,7.68)])
R(por, Metal2, [(-22.47,-2.805,-11.525,-2.585)])
R(por, Metal2_pin, [(-22.47,-2.805,-11.525,-2.585)])
R(por, NWell, [(6.17,5.305,7.655,8.03)])
R(por, nBuLay, [(6.17,5.305,7.655,8.03)])
R(por, TopMetal1, [(-11.585,-9.46,4.695,-5.59)])
por.add(gdstk.Reference(ring_schmitt, (-0.545,0.265)))
por.add(gdstk.Reference(ring_inv, (7.87,2.795)))
por.add(gdstk.Reference(por_ref_voltage, (-9.685,-0.165)))
por.add(gdstk.Reference(cmim_1, (-22.09,-6.955)))
por.add(gdstk.Reference(via_stack_15, (-3.445,-8.64)))
por.add(gdstk.Reference(via_stack_17, (-3.705,0.775)))
por.add(gdstk.Reference(via_stack_16, (-9.975,7.13)))
por.add(gdstk.Reference(via_stack_18, (-10.16,0.595)))
por.add(gdstk.Label('RESET', (12.415,2.123), layer=8, texttype=2))
por.add(gdstk.Label('VSS', (-3.445,-9.46), layer=8, texttype=2))
por.add(gdstk.Label('VDD1v2', (-3.648,7.68), layer=8, texttype=2))
por.add(gdstk.Label('VCAP', (-9.86,0.08), layer=10, texttype=0))
por.add(gdstk.Label('VBIAS', (-22.47,-2.695), layer=10, texttype=2))

lib.write_gds('POR.gds')
